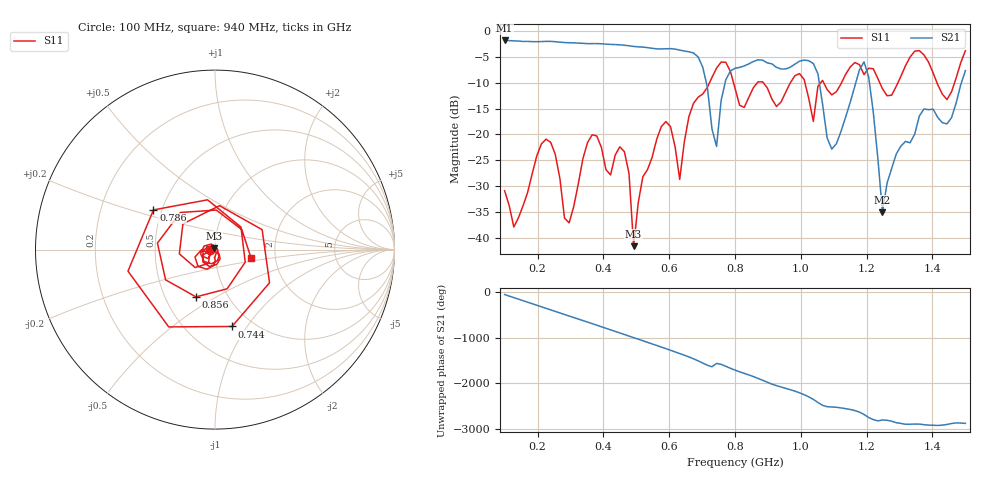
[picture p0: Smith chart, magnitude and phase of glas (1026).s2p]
! NanoVNA-App
! Date: 2025-09-25 16:03:27
! Start: 100MHz Stop: 1,5GHz Points: 101
! S-Parameter data: F S11 S21 S12 S22
# Hz S RI R 50
!  Frequency  S11_Real  S11_Imag  S21_Real  S21_Imag  S12_Real  S12_Imag  S22_Real  S22_Imag
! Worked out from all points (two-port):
!   101 points, 100 MHz to 1.5 GHz, reference 50 ohm
!   highest |S21| = -1.80 dB at 100 MHz (marker M1); lowest = -35.1 dB at 1.248 GHz (marker M2)
!   |S21| within 3 dB of the highest: start of sweep to 684.4 MHz
!   lowest |S11| = -41.7 dB at 492 MHz (marker M3), VSWR 1.02, Z = 49.5 + j0.621 ohm
!   |S11| at or under -10 dB: start of sweep to 722.5 MHz; 795.5 MHz to 867.8 MHz (72.25 MHz wide, 8.69 % of centre); 886.1 MHz to 968.1 MHz (82 MHz wide, 8.84 % of centre) (the widest 3 of 7)
!   S12 and S22 are empty: the file has one direction only
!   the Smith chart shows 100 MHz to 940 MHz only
!   S11 on the Smith chart (normalised r, x): 100 MHz: 0.94, -0.01; 744 MHz: 0.81, -0.85; 786 MHz: 0.45, +0.24; 856 MHz: 0.71, -0.41; 940 MHz: 1.49, -0.15
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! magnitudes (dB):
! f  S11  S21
! 100 MHz  -30.9  -1.8
! 128 MHz  -38.0  -1.9
! 226 MHz  -20.9  -2.0
! 296 MHz  -37.1  -2.2
! 338 MHz  -24.7  -2.4
! 464 MHz  -23.4  -2.7
! 492 MHz  -41.7  -3.0
! 576 MHz  -18.5  -3.5
! 632 MHz  -28.7  -3.7
! 702 MHz  -12.2  -7.0
! 744 MHz  -7.2  -22.3
! 786 MHz  -7.8  -7.7
! 800 MHz  -11.0  -7.2
! 856 MHz  -10.9  -5.9
! 940 MHz  -13.7  -7.3
! 996 MHz  -8.2  -5.8
! 1.038 GHz  -17.5  -6.3
! 1.094 GHz  -12.4  -22.9
! 1.192 GHz  -8.4  -5.9
! 1.248 GHz  -11.2  -35.1
! 1.276 GHz  -12.4  -26.6
! 1.5 GHz  -3.8  -7.6
